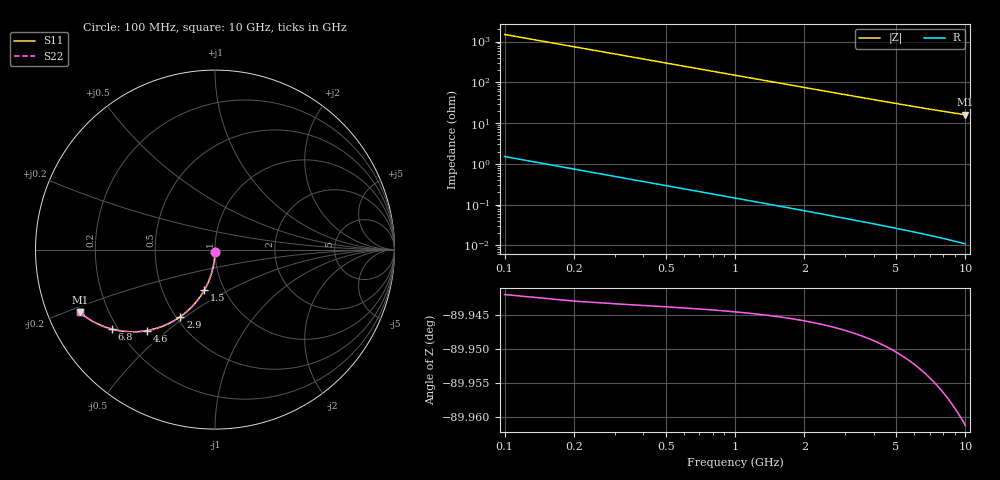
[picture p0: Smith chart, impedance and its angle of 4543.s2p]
# Hz S RI R 50.00
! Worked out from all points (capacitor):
!   100 points, 100 MHz to 10 GHz, reference 50 ohm
!   read as one part in shunt: C = 1.06 pF near 100 MHz
!   lowest |Z| = 16 ohm at 10 GHz (marker M1)
!   S11 on the Smith chart (normalised r, x): 100 MHz: 1.00, -0.03; 1.5 GHz: 0.81, -0.38; 2.9 GHz: 0.53, -0.48; 4.6 GHz: 0.31, -0.43; 6.8 GHz: 0.18, -0.33; 10 GHz: 0.10, -0.22
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1e8  -0.000134 -0.016  0.9995 -0.0174  0.9995 -0.0174  -0.000134 -0.016
2e8  -0.000985 -0.032  0.9987 -0.0348  0.9987 -0.0348  -0.000985 -0.032
3e8  -0.00239 -0.0479  0.9973 -0.0522  0.9973 -0.0522  -0.00239 -0.0479
4e8  -0.00435 -0.0637  0.9953 -0.0695  0.9953 -0.0695  -0.00435 -0.0637
5e8  -0.00685 -0.0794  0.9928 -0.0866  0.9928 -0.0866  -0.00685 -0.0794
6e8  -0.00989 -0.095  0.9897 -0.1037  0.9897 -0.1037  -0.00989 -0.095
7e8  -0.0135 -0.1105  0.9862 -0.1206  0.9862 -0.1206  -0.0135 -0.1105
9e8  -0.0221 -0.1407  0.9775 -0.1538  0.9775 -0.1538  -0.0221 -0.1407
1.2e9  -0.0388 -0.1844  0.9608 -0.2018  0.9608 -0.2018  -0.0388 -0.1844
1.5e9  -0.0594 -0.2255  0.94 -0.2472  0.94 -0.2472  -0.0594 -0.2255
1.8e9  -0.0835 -0.2635  0.9159 -0.2896  0.9159 -0.2896  -0.0835 -0.2635
2.3e9  -0.1298 -0.3194  0.8693 -0.3527  0.8693 -0.3527  -0.1298 -0.3194
2.9e9  -0.1923 -0.373  0.8065 -0.4152  0.8065 -0.4152  -0.1923 -0.373
3.4e9  -0.2473 -0.4066  0.7511 -0.4562  0.7511 -0.4562  -0.2473 -0.4066
4e9  -0.3136 -0.4346  0.6843 -0.4931  0.6843 -0.4931  -0.3136 -0.4346
4.6e9  -0.378 -0.4509  0.6194 -0.5185  0.6194 -0.5185  -0.378 -0.4509
5.1e9  -0.4288 -0.457  0.5681 -0.5322  0.5681 -0.5322  -0.4288 -0.457
5.8e9  -0.4943 -0.4565  0.5016 -0.5424  0.5016 -0.5424  -0.4943 -0.4565
6.7e9  -0.5684 -0.4444  0.4262 -0.5444  0.4262 -0.5444  -0.5684 -0.4444
6.8e9  -0.5759 -0.4425  0.4185 -0.544  0.4185 -0.544  -0.5759 -0.4425
8.4e9  -0.6783 -0.4013  0.3131 -0.5285  0.3131 -0.5285  -0.6783 -0.4013
1e10  -0.7523 -0.3504  0.2353 -0.5045  0.2353 -0.5045  -0.7523 -0.3504
